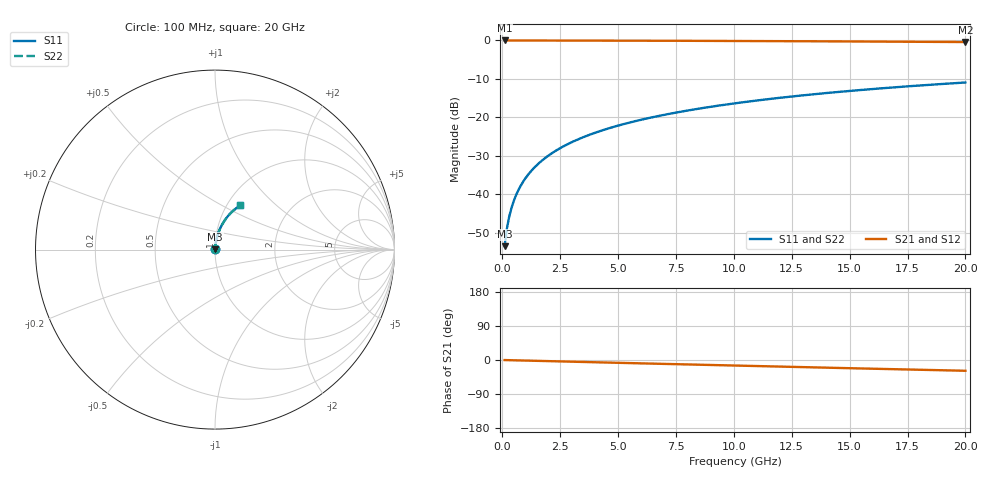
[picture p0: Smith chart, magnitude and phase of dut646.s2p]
! Touchstone file exported from HFSS 2026.1.0
!  File:  C:/ffzhzh/LocalFiles/Ansys_Project_Files/temp_train_BSMRDL_646_1783016863_55676.aedt
!  Generated:  02:29:12 AM Jul  3, 2026
!  Design:  BSMRDL
!  Project:  temp_train_BSMRDL_646_1783016863_55676
! Variables:
!  h_bsmrdl = 5.08um
!  h_ox = 20um
!  h_rdl = 5um
!  h_sub = 80um
!  h_tmrdl = 5um
!  h_tsv = 80um
!  h_via = 3um
!  l_bsmrdl = 376.57um
!  l_sub = 776.57um
!  l_tmrdl = 200um
!  m_sub = 200um
!  pitch = 57.88um
!  r_tsv = 6um
!  s_tmrdl = 10um
!  w_bsmrdl = 24.49um
!  w_sub = 500um
!  w_tmrdl = 12um
!  x_tsv_center1 = 206um
!  x_tsv_center2 = 607.06um
!  x_tsv_center3 = 819.06um
!  x_tsv_center4 = 1220.12um
!  x_tsv_center5 = 1432.12um
!  x_tsv_center6 = 1833.18um
# GHz S MA R 50.000000
! Terminal data exported
! Port[1] = BSM_RDL1_1_T1
! Port[2] = BSM_RDL1_1_T2
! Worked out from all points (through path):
!   200 points, 100 MHz to 20 GHz, reference 50 ohm
!   highest |S21| = -0.01 dB at 100 MHz (marker M1); lowest = -0.4 dB at 20 GHz (marker M2)
!   group delay of S21, straight-line fit = 3.95 ps
!   lowest |S11| = -53.5 dB at 100 MHz (marker M3), VSWR 1.00, Z = 50.1 + j0.171 ohm
!   |S11| at or under -10 dB: start of sweep to end of sweep
!   |S22| runs from -53.5 to -10.9 dB; largest |S21 - S12| = 3.5e-15
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0.1  0.002113 53.9  0.9988 -0.2  0.9988 -0.2  0.002113 53.9
! Gamma 0 0 0 0
! Port Impedance 50 0 50 0
0.2  0.003598 68.1  0.9987 -0.3  0.9987 -0.3  0.003598 68.1
0.3  0.005131 73.9  0.9986 -0.5  0.9986 -0.5  0.005131 73.9
0.4  0.00668 77.0  0.9986 -0.6  0.9986 -0.6  0.00668 77.0
0.5  0.008241 79.0  0.9985 -0.8  0.9985 -0.8  0.008241 79.0
0.7  0.01139 81.3  0.9984 -1.1  0.9984 -1.1  0.01139 81.3
0.8  0.01297 82.0  0.9984 -1.2  0.9984 -1.2  0.01297 82.0
1  0.01613 82.8  0.9983 -1.5  0.9983 -1.5  0.01613 82.8
1.2  0.0193 83.3  0.9982 -1.8  0.9982 -1.8  0.0193 83.3
1.4  0.02246 83.5  0.998 -2.1  0.998 -2.1  0.02246 83.5
1.7  0.0272 83.6  0.9978 -2.6  0.9978 -2.6  0.0272 83.6
2  0.03192 83.5  0.9976 -3.0  0.9976 -3.0  0.03192 83.5
2.7  0.04286 82.9  0.9968 -4.0  0.9968 -4.0  0.04286 82.9
3.5  0.05522 82.1  0.9959 -5.2  0.9959 -5.2  0.05522 82.1
4.2  0.06593 81.2  0.9949 -6.3  0.9949 -6.3  0.06593 81.2
5  0.07805 80.2  0.9937 -7.4  0.9937 -7.4  0.07805 80.2
6.8  0.1049 77.8  0.9906 -10.0  0.9906 -10.0  0.1049 77.8
8.3  0.1269 75.8  0.9875 -12.2  0.9875 -12.2  0.1269 75.8
10.1  0.1529 73.4  0.9834 -14.8  0.9834 -14.8  0.1529 73.4
13.4  0.1989 69.0  0.9745 -19.4  0.9745 -19.4  0.1989 69.0
16.7  0.2426 64.6  0.9641 -24.0  0.9641 -24.0  0.2426 64.6
20  0.2836 60.3  0.9525 -28.4  0.9525 -28.4  0.2836 60.3
